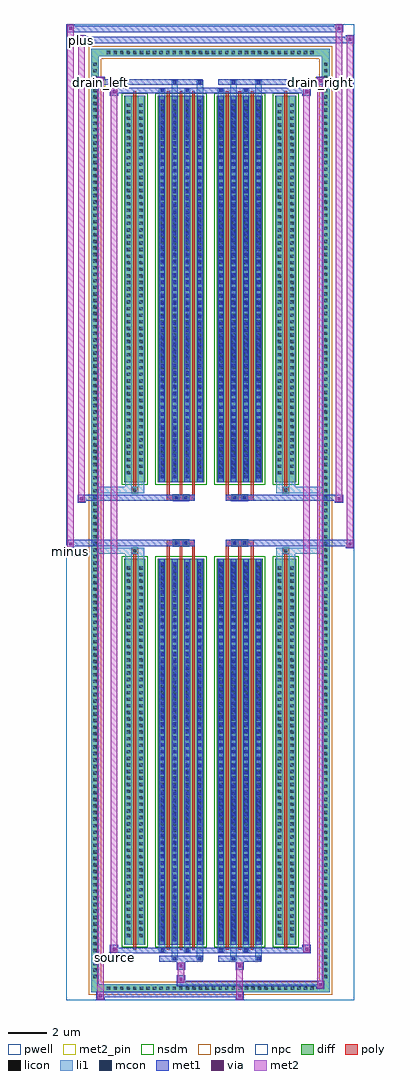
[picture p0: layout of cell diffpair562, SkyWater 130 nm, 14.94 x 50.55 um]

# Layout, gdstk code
import gdstk
lib = gdstk.Library(unit=1e-6, precision=5e-09)
def R(c, l, rs):  # rectangles x0, y0, x1, y1
    for r in rs: c.add(gdstk.rectangle(r[:2], r[2:], *l))
def A(c, l, x, y, w, h, nx, ny, dx, dy):  # array of equal rectangles
    R(c, l, [(x+i*dx, y+j*dy, x+i*dx+w, y+j*dy+h) for i in range(nx) for j in range(ny)])
def P(c, l, *ps):  # polygons
    for p in ps: c.add(gdstk.Polygon(p, *l))
pwell = (64, 44)
diff = (65, 20)
poly = (66, 20)
licon = (66, 44)
li1 = (67, 20)
mcon = (67, 44)
met1 = (68, 20)
via = (68, 44)
met2_pin = (69, 16)
met2 = (69, 20)
nsdm = (93, 44)
psdm = (94, 20)
npc = (95, 20)

diffpair562 = lib.new_cell('diffpair562')
R(diffpair562, pwell, [(-7.45,-24.84,7.45,25.71), (-4.77,-23.03,-0.01,-0.805), (0.01,-23.03,4.77,-0.805), (-4.77,0.805,-0.01,23.03), (0.01,0.805,4.77,23.03)])
A(diffpair562, diff, -5.475, -24.44, 0.41, 0.41, 32, 2, 0.34, 48.47)
A(diffpair562, diff, -6.18, -23.835, 0.41, 0.41, 1, 140, 0, 0.34)
A(diffpair562, diff, 5.77, -23.835, 0.41, 0.41, 1, 140, 0, 0.34)
R(diffpair562, diff, [(-5.475,-24.44,5.475,-24.03), (-6.18,-23.835,-5.77,23.835), (5.77,-23.835,6.18,23.835), (-4.46,-21.985,-3.36,-1.985), (-2.72,-21.985,-0.32,-1.985), (0.32,-21.985,2.72,-1.985), (3.36,-21.985,4.46,-1.985), (-4.46,1.985,-3.36,21.985), (-2.72,1.985,-0.32,21.985), (0.32,1.985,2.72,21.985), (3.36,1.985,4.46,21.985), (-5.475,24.03,5.475,24.44)])
P(diffpair562, diff, [(6.18,24.44),(-6.18,24.44),(-6.18,-24.03),(-5.77,-24.03),(-5.77,24.03),(5.77,24.03),(5.77,-24.03),(-5.77,-24.03),(-6.18,-24.03),(-6.18,-24.44),(6.18,-24.44)])
A(diffpair562, poly, -2.245, -22.235, 0.15, 20.5, 3, 2, 0.65, 23.97)
A(diffpair562, poly, 0.795, -22.235, 0.15, 20.5, 3, 2, 0.65, 23.97)
A(diffpair562, poly, -2.245, -1.735, 0.15, 0.4, 3, 2, 0.65, 3.07)
A(diffpair562, poly, 0.795, -1.735, 0.15, 0.4, 3, 2, 0.65, 3.07)
R(diffpair562, poly, [(-3.985,-22.235,-3.835,-1.735), (3.835,-22.235,3.985,-1.735), (-4.075,-1.735,-3.745,-1.405), (-4.075,-1.735,-3.745,-1.405), (3.745,-1.735,4.075,-1.405), (3.745,-1.735,4.075,-1.405), (-2.245,-1.335,-0.795,-1.005), (-1.935,-1.335,-1.605,-1.005), (-1.435,-1.335,-1.105,-1.005), (0.795,-1.335,2.245,-1.005), (1.105,-1.335,1.435,-1.005), (1.605,-1.335,1.935,-1.005), (-2.245,1.005,-0.795,1.335), (-1.935,1.005,-1.605,1.335), (-1.435,1.005,-1.105,1.335), (0.795,1.005,2.245,1.335), (1.105,1.005,1.435,1.335), (1.605,1.005,1.935,1.335), (-4.075,1.405,-3.745,1.735), (-4.075,1.405,-3.745,1.735), (3.745,1.405,4.075,1.735), (3.745,1.405,4.075,1.735), (-3.985,1.735,-3.835,22.235), (3.835,1.735,3.985,22.235)])
A(diffpair562, licon, -5.355, -24.32, 0.17, 0.17, 32, 2, 0.34, 48.47)
A(diffpair562, licon, -6.06, -23.715, 0.17, 0.17, 1, 140, 0, 0.34)
A(diffpair562, licon, 5.89, -23.715, 0.17, 0.17, 1, 140, 0, 0.34)
A(diffpair562, licon, -4.32, -21.59, 0.17, 0.17, 1, 57, 0, 0.34)
A(diffpair562, licon, -3.67, -21.59, 0.17, 0.17, 1, 57, 0, 0.34)
A(diffpair562, licon, -2.58, -21.59, 0.17, 0.17, 4, 57, 0.65, 0.34)
A(diffpair562, licon, 0.46, -21.59, 0.17, 0.17, 4, 57, 0.65, 0.34)
A(diffpair562, licon, 3.5, -21.59, 0.17, 0.17, 1, 57, 0, 0.34)
A(diffpair562, licon, 4.15, -21.59, 0.17, 0.17, 1, 57, 0, 0.34)
A(diffpair562, licon, -4.32, 2.38, 0.17, 0.17, 1, 57, 0, 0.34)
A(diffpair562, licon, -3.67, 2.38, 0.17, 0.17, 1, 57, 0, 0.34)
A(diffpair562, licon, -2.58, 2.38, 0.17, 0.17, 4, 57, 0.65, 0.34)
A(diffpair562, licon, 0.46, 2.38, 0.17, 0.17, 4, 57, 0.65, 0.34)
A(diffpair562, licon, 3.5, 2.38, 0.17, 0.17, 1, 57, 0, 0.34)
A(diffpair562, licon, 4.15, 2.38, 0.17, 0.17, 1, 57, 0, 0.34)
R(diffpair562, licon, [(-3.995,-1.655,-3.825,-1.485), (3.825,-1.655,3.995,-1.485), (-1.855,-1.255,-1.685,-1.085), (-1.355,-1.255,-1.185,-1.085), (1.185,-1.255,1.355,-1.085), (1.685,-1.255,1.855,-1.085), (-1.855,1.085,-1.685,1.255), (-1.355,1.085,-1.185,1.255), (1.185,1.085,1.355,1.255), (1.685,1.085,1.855,1.255), (-3.995,1.485,-3.825,1.655), (3.825,1.485,3.995,1.655)])
A(diffpair562, li1, -5.435, -24.4, 0.33, 0.33, 32, 2, 0.34, 48.47)
A(diffpair562, li1, -6.14, -23.795, 0.33, 0.33, 1, 140, 0, 0.34)
A(diffpair562, li1, 5.81, -23.795, 0.33, 0.33, 1, 140, 0, 0.34)
A(diffpair562, li1, -2.66, -21.985, 0.33, 20, 4, 2, 0.65, 23.97)
A(diffpair562, li1, 0.38, -21.985, 0.33, 20, 4, 2, 0.65, 23.97)
A(diffpair562, li1, -2.58, -21.79, 0.17, 0.17, 4, 55, 0.65, 0.36)
A(diffpair562, li1, -2.58, -21.79, 0.17, 19.61, 4, 2, 0.65, 23.97)
A(diffpair562, li1, 0.46, -21.79, 0.17, 0.17, 4, 55, 0.65, 0.36)
A(diffpair562, li1, 0.46, -21.79, 0.17, 19.61, 4, 2, 0.65, 23.97)
A(diffpair562, li1, -4.4, -21.67, 0.33, 0.33, 1, 57, 0, 0.34)
A(diffpair562, li1, -3.75, -21.67, 0.33, 0.33, 1, 57, 0, 0.34)
A(diffpair562, li1, -2.66, -21.67, 0.33, 0.33, 4, 57, 0.65, 0.34)
A(diffpair562, li1, 0.38, -21.67, 0.33, 0.33, 4, 57, 0.65, 0.34)
A(diffpair562, li1, 3.42, -21.67, 0.33, 0.33, 1, 57, 0, 0.34)
A(diffpair562, li1, 4.07, -21.67, 0.33, 0.33, 1, 57, 0, 0.34)
A(diffpair562, li1, -2.58, 2.18, 0.17, 0.17, 4, 55, 0.65, 0.36)
A(diffpair562, li1, 0.46, 2.18, 0.17, 0.17, 4, 55, 0.65, 0.36)
A(diffpair562, li1, -4.4, 2.3, 0.33, 0.33, 1, 57, 0, 0.34)
A(diffpair562, li1, -3.75, 2.3, 0.33, 0.33, 1, 57, 0, 0.34)
A(diffpair562, li1, -2.66, 2.3, 0.33, 0.33, 4, 57, 0.65, 0.34)
A(diffpair562, li1, 0.38, 2.3, 0.33, 0.33, 4, 57, 0.65, 0.34)
A(diffpair562, li1, 3.42, 2.3, 0.33, 0.33, 1, 57, 0, 0.34)
A(diffpair562, li1, 4.07, 2.3, 0.33, 0.33, 1, 57, 0, 0.34)
R(diffpair562, li1, [(-6.18,-24.44,-5.77,-24.03), (-6.18,-24.44,-5.77,-24.03), (-5.77,-24.44,5.77,-24.03), (5.77,-24.44,6.18,-24.03), (5.77,-24.44,6.18,-24.03), (-6.18,-24.03,-5.77,24.03), (5.77,-24.03,6.18,24.03), (-2.01,-22.79,-1.68,-21.985), (-1.93,-22.79,-1.76,-22.62), (-0.71,-22.79,-0.38,-21.985), (-0.63,-22.79,-0.46,-22.62), (1.03,-22.79,1.36,-21.985), (1.11,-22.79,1.28,-22.62), (2.33,-22.79,2.66,-21.985), (2.41,-22.79,2.58,-22.62), (-2.66,-22.36,-2.33,-21.985), (-2.58,-22.36,-2.41,-22.19), (-1.36,-22.36,-1.03,-21.985), (-1.28,-22.36,-1.11,-22.19), (0.38,-22.36,0.71,-21.985), (0.46,-22.36,0.63,-22.19), (1.68,-22.36,2.01,-21.985), (1.76,-22.36,1.93,-22.19), (-4.4,-21.985,-4.07,-1.985), (-3.75,-21.985,-3.42,-1.985), (3.42,-21.985,3.75,-1.985), (4.07,-21.985,4.4,-1.985), (-4.4,-1.985,-4.07,-1.405), (-3.75,-1.985,-3.42,-1.405), (3.42,-1.985,3.75,-1.405), (4.07,-1.985,4.4,-1.405), (-6.18,-1.735,-4.075,-1.405), (-4.4,-1.735,-4.075,-1.405), (-4.075,-1.735,-3.745,-1.405), (-3.745,-1.735,-3.42,-1.405), (3.42,-1.735,3.745,-1.405), (3.745,-1.735,4.075,-1.405), (3.745,-1.735,6.18,-1.405), (4.075,-1.735,4.4,-1.405), (-1.935,-1.335,-1.605,-1.005), (-1.435,-1.335,-1.105,-1.005), (1.105,-1.335,1.435,-1.005), (1.605,-1.335,1.935,-1.005), (-1.935,1.005,-1.605,1.335), (-1.435,1.005,-1.105,1.335), (1.105,1.005,1.435,1.335), (1.605,1.005,1.935,1.335), (-6.18,1.405,-4.075,1.735), (-4.4,1.405,-4.075,1.735), (-4.4,1.405,-4.07,1.985), (-4.075,1.405,-3.745,1.735), (-3.75,1.405,-3.42,1.985), (-3.745,1.405,-3.42,1.735), (3.42,1.405,3.745,1.735), (3.42,1.405,3.75,1.985), (3.745,1.405,4.075,1.735), (3.745,1.405,6.18,1.735), (4.07,1.405,4.4,1.985), (4.075,1.405,4.4,1.735), (-4.4,1.985,-4.07,21.985), (-3.75,1.985,-3.42,21.985), (3.42,1.985,3.75,21.985), (4.07,1.985,4.4,21.985), (-2.66,21.985,-2.33,22.36), (-2.01,21.985,-1.68,22.79), (-1.36,21.985,-1.03,22.36), (-0.71,21.985,-0.38,22.79), (0.38,21.985,0.71,22.36), (1.03,21.985,1.36,22.79), (1.68,21.985,2.01,22.36), (2.33,21.985,2.66,22.79), (-2.58,22.19,-2.41,22.36), (-1.28,22.19,-1.11,22.36), (0.46,22.19,0.63,22.36), (1.76,22.19,1.93,22.36), (-1.93,22.62,-1.76,22.79), (-0.63,22.62,-0.46,22.79), (1.11,22.62,1.28,22.79), (2.41,22.62,2.58,22.79), (-6.18,24.03,-5.77,24.44), (-6.18,24.03,-5.77,24.44), (-5.77,24.03,5.77,24.44), (5.77,24.03,6.18,24.44), (5.77,24.03,6.18,24.44)])
A(diffpair562, mcon, -2.58, -21.79, 0.17, 0.17, 4, 55, 0.65, 0.36)
A(diffpair562, mcon, 0.46, -21.79, 0.17, 0.17, 4, 55, 0.65, 0.36)
A(diffpair562, mcon, -2.58, 2.18, 0.17, 0.17, 4, 55, 0.65, 0.36)
A(diffpair562, mcon, 0.46, 2.18, 0.17, 0.17, 4, 55, 0.65, 0.36)
R(diffpair562, mcon, [(-1.93,-22.79,-1.76,-22.62), (-0.63,-22.79,-0.46,-22.62), (1.11,-22.79,1.28,-22.62), (2.41,-22.79,2.58,-22.62), (-2.58,-22.36,-2.41,-22.19), (-1.28,-22.36,-1.11,-22.19), (0.46,-22.36,0.63,-22.19), (1.76,-22.36,1.93,-22.19), (-1.855,-1.255,-1.685,-1.085), (-1.355,-1.255,-1.185,-1.085), (1.185,-1.255,1.355,-1.085), (1.685,-1.255,1.855,-1.085), (-1.855,1.085,-1.685,1.255), (-1.355,1.085,-1.185,1.255), (1.185,1.085,1.355,1.255), (1.685,1.085,1.855,1.255), (-2.58,22.19,-2.41,22.36), (-1.28,22.19,-1.11,22.36), (0.46,22.19,0.63,22.36), (1.76,22.19,1.93,22.36), (-1.93,22.62,-1.76,22.79), (-0.63,22.62,-0.46,22.79), (1.11,22.62,1.28,22.79), (2.41,22.62,2.58,22.79)])
A(diffpair562, met1, -2.64, -21.985, 0.29, 20, 4, 2, 0.65, 23.97)
A(diffpair562, met1, 0.4, -21.985, 0.29, 20, 4, 2, 0.65, 23.97)
A(diffpair562, met1, -2.64, -21.85, 0.29, 0.29, 4, 55, 0.65, 0.36)
A(diffpair562, met1, 0.4, -21.85, 0.29, 0.29, 4, 55, 0.65, 0.36)
A(diffpair562, met1, -2.64, 2.12, 0.29, 0.29, 4, 55, 0.65, 0.36)
A(diffpair562, met1, 0.4, 2.12, 0.29, 0.29, 4, 55, 0.65, 0.36)
R(diffpair562, met1, [(-5.91,-24.84,-5.48,-24.41), (1.305,-24.84,1.735,-24.41), (-5.91,-24.7,1.735,-24.41), (5.48,-24.27,5.91,-23.84), (-1.735,-24.13,5.91,-23.84), (-1.735,-23.99,-1.305,-23.56), (-1.735,-23.28,-1.305,-22.85), (1.305,-23.28,1.735,-22.85), (-2.64,-22.85,-0.4,-22.56), (-1.99,-22.85,-1.7,-22.56), (-0.69,-22.85,-0.4,-22.56), (0.4,-22.85,2.64,-22.56), (1.05,-22.85,1.34,-22.56), (2.35,-22.85,2.64,-22.56), (-5.2,-22.42,-4.77,-21.99), (-5.2,-22.42,-2.64,-22.13), (-2.64,-22.42,-2.35,-22.13), (-2.64,-22.42,-0.4,-22.13), (-1.34,-22.42,-1.05,-22.13), (-0.4,-22.42,0.4,-22.13), (0.4,-22.42,0.69,-22.13), (0.4,-22.42,2.64,-22.13), (1.7,-22.42,1.99,-22.13), (2.64,-22.42,5.2,-22.13), (4.77,-22.42,5.2,-21.99), (-7.45,-1.435,-7.02,-1.005), (7.02,-1.435,7.45,-1.005), (-7.45,-1.335,-0.795,-1.005), (-2.245,-1.335,-0.795,-1.005), (0.795,-1.335,2.245,-1.005), (0.795,-1.335,7.45,-1.005), (-1.915,-1.315,-1.625,-1.025), (-1.415,-1.315,-1.125,-1.025), (1.125,-1.315,1.415,-1.025), (1.625,-1.315,1.915,-1.025), (-6.88,0.905,-6.45,1.335), (6.45,0.905,6.88,1.335), (-6.88,1.005,-2.245,1.335), (-2.245,1.005,-0.795,1.335), (0.795,1.005,2.245,1.335), (2.245,1.005,6.88,1.335), (-1.915,1.025,-1.625,1.315), (-1.415,1.025,-1.125,1.315), (1.125,1.025,1.415,1.315), (1.625,1.025,1.915,1.315), (-5.2,21.99,-4.77,22.42), (4.77,21.99,5.2,22.42), (-5.2,22.13,-2.64,22.42), (-2.64,22.13,-2.35,22.42), (-2.64,22.13,-0.4,22.42), (-1.34,22.13,-1.05,22.42), (-0.4,22.13,0.4,22.42), (0.4,22.13,0.69,22.42), (0.4,22.13,2.64,22.42), (1.7,22.13,1.99,22.42), (2.64,22.13,5.2,22.42), (-5.91,22.56,-5.48,22.99), (-5.91,22.56,-2.64,22.85), (-2.64,22.56,-0.4,22.85), (-1.99,22.56,-1.7,22.85), (-0.69,22.56,-0.4,22.85), (0.4,22.56,2.64,22.85), (1.05,22.56,1.34,22.85), (2.35,22.56,2.64,22.85), (2.64,22.56,5.91,22.85), (5.48,22.56,5.91,22.99), (-6.88,24.71,-6.45,25.14), (-6.88,24.71,-4.77,25.04), (-4.77,24.71,4.77,25.04), (4.77,24.71,7.45,25.04), (7.02,24.71,7.45,25.14), (-7.45,25.28,-7.02,25.71), (-7.45,25.28,-4.77,25.61), (-4.77,25.28,4.77,25.61), (4.77,25.28,6.88,25.61), (6.45,25.28,6.88,25.71)])
R(diffpair562, via, [(-5.77,-24.7,-5.62,-24.55), (1.445,-24.7,1.595,-24.55), (5.62,-24.13,5.77,-23.98), (-1.595,-23.85,-1.445,-23.7), (-1.595,-23.14,-1.445,-22.99), (1.445,-23.14,1.595,-22.99), (-5.06,-22.28,-4.91,-22.13), (4.91,-22.28,5.06,-22.13), (-7.31,-1.295,-7.16,-1.145), (7.16,-1.295,7.31,-1.145), (-6.74,1.045,-6.59,1.195), (6.59,1.045,6.74,1.195), (-5.06,22.13,-4.91,22.28), (4.91,22.13,5.06,22.28), (-5.77,22.7,-5.62,22.85), (5.62,22.7,5.77,22.85), (-6.74,24.85,-6.59,25), (7.16,24.85,7.31,25), (-7.31,25.42,-7.16,25.57), (6.59,25.42,6.74,25.57)])
R(diffpair562, met2_pin, [(-5.235,-22.87,-4.735,-22.37), (-7.485,-1.885,-6.985,-1.385), (-5.945,22.44,-5.445,22.94), (5.445,22.44,5.945,22.94), (-6.915,24.59,-6.415,25.09)])
R(diffpair562, met2, [(-5.86,-24.79,-5.53,-24.46), (-5.86,-24.79,-5.53,22.94), (1.355,-24.79,1.685,-24.46), (1.355,-24.46,1.685,-23.23), (5.53,-24.22,5.86,-23.89), (5.53,-24.22,5.86,22.94), (-1.685,-23.94,-1.355,-23.61), (-1.685,-23.61,-1.355,-23.23), (-1.685,-23.23,-1.355,-22.9), (1.355,-23.23,1.685,-22.9), (-5.15,-22.37,-4.82,-22.04), (-5.15,-22.37,-4.82,22.37), (4.82,-22.37,5.15,-22.04), (4.82,-22.37,5.15,22.37), (-7.4,-1.385,-7.07,-1.055), (-7.4,-1.385,-7.07,25.66), (7.07,-1.385,7.4,-1.055), (7.07,-1.385,7.4,25.09), (-6.83,0.955,-6.5,1.285), (-6.83,0.955,-6.5,25.09), (6.5,0.955,6.83,1.285), (6.5,0.955,6.83,25.66), (-5.15,22.04,-4.82,22.37), (4.82,22.04,5.15,22.37), (-5.86,22.61,-5.53,22.94), (5.53,22.61,5.86,22.94), (-6.83,24.76,-6.5,25.09), (7.07,24.76,7.4,25.09), (-7.4,25.33,-7.07,25.66), (6.5,25.33,6.83,25.66)])
P(diffpair562, met2, [(7.4,-1.385),(7.4,-1.385),(7.4,-1.055),(7.4,-1.055)],
  [(7.4,24.76),(7.4,24.76),(7.4,25.09),(7.4,25.09)],
  [(-7.07,-1.385),(-7.07,-1.385),(-7.07,-1.055),(-7.07,-1.055)],
  [(-7.07,25.33),(-7.07,25.33),(-7.07,25.66),(-7.07,25.66)],
  [(6.83,0.955),(6.83,0.955),(6.83,1.285),(6.83,1.285)],
  [(6.83,25.33),(6.83,25.33),(6.83,25.66),(6.83,25.66)],
  [(-6.5,0.955),(-6.5,0.955),(-6.5,1.285),(-6.5,1.285)],
  [(-6.5,24.76),(-6.5,24.76),(-6.5,25.09),(-6.5,25.09)],
  [(-5.53,-24.79),(-5.53,-24.79),(-5.53,-24.46),(-5.53,-24.46)],
  [(-5.53,22.61),(-5.53,22.61),(-5.53,22.94),(-5.53,22.94)],
  [(5.86,-24.22),(5.86,-24.22),(5.86,-23.89),(5.86,-23.89)],
  [(5.86,22.61),(5.86,22.61),(5.86,22.94),(5.86,22.94)],
  [(-4.82,-22.37),(-4.82,-22.37),(-4.82,-22.04),(-4.82,-22.04)],
  [(-4.82,22.04),(-4.82,22.04),(-4.82,22.37),(-4.82,22.37)],
  [(5.15,-22.37),(5.15,-22.37),(5.15,-22.04),(5.15,-22.04)],
  [(5.15,22.04),(5.15,22.04),(5.15,22.37),(5.15,22.37)])
R(diffpair562, nsdm, [(-4.59,-22.115,-3.23,-1.855), (-2.85,-22.115,-0.19,-1.855), (0.19,-22.115,2.85,-1.855), (3.23,-22.115,4.59,-1.855), (-4.59,1.855,-3.23,22.115), (-2.85,1.855,-0.19,22.115), (0.19,1.855,2.85,22.115), (3.23,1.855,4.59,22.115)])
P(diffpair562, psdm, [(6.31,24.57),(-6.31,24.57),(-6.31,-23.9),(-5.64,-23.9),(-5.64,23.9),(5.64,23.9),(5.64,-23.9),(-5.64,-23.9),(-6.31,-23.9),(-6.31,-24.57),(6.31,-24.57)])
R(diffpair562, npc, [(-4.095,-1.755,-3.725,-1.385), (3.725,-1.755,4.095,-1.385), (-1.955,-1.355,-1.585,-0.985), (-1.955,-1.355,-1.085,-0.985), (-1.955,-1.355,-1.085,-0.985), (-1.455,-1.355,-1.085,-0.985), (1.085,-1.355,1.455,-0.985), (1.085,-1.355,1.955,-0.985), (1.085,-1.355,1.955,-0.985), (1.585,-1.355,1.955,-0.985), (-1.955,0.985,-1.585,1.355), (-1.955,0.985,-1.085,1.355), (-1.955,0.985,-1.085,1.355), (-1.455,0.985,-1.085,1.355), (1.085,0.985,1.455,1.355), (1.085,0.985,1.955,1.355), (1.085,0.985,1.955,1.355), (1.585,0.985,1.955,1.355), (-4.095,1.385,-3.725,1.755), (3.725,1.385,4.095,1.755)])
diffpair562.add(gdstk.Label('minus', (-7.235,-1.635), layer=69, texttype=5))
diffpair562.add(gdstk.Label('drain_right', (5.695,22.69), layer=69, texttype=5))
diffpair562.add(gdstk.Label('drain_left', (-5.695,22.69), layer=69, texttype=5))
diffpair562.add(gdstk.Label('source', (-4.985,-22.62), layer=69, texttype=5))
diffpair562.add(gdstk.Label('plus', (-6.665,24.84), layer=69, texttype=5))

lib.write_gds('diffpair562.gds')
